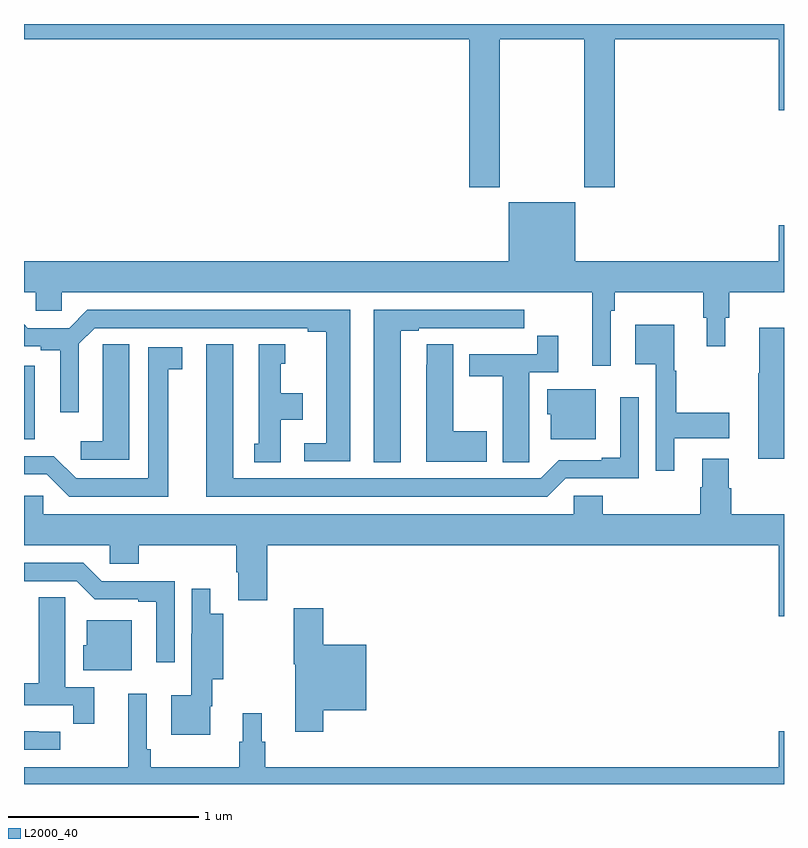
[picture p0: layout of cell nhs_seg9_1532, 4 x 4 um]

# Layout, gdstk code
import gdstk
lib = gdstk.Library(unit=1e-6, precision=1e-09)
def R(c, l, rs):  # rectangles x0, y0, x1, y1
    for r in rs: c.add(gdstk.rectangle(r[:2], r[2:], *l))
def P(c, l, *ps):  # polygons
    for p in ps: c.add(gdstk.Polygon(p, *l))
L2000_40 = (2000, 40)

nhs_seg9_1532 = lib.new_cell('nhs_seg9_1532')
R(nhs_seg9_1532, L2000_40, [(197,1194.314,197.056,1194.702)])
P(nhs_seg9_1532, L2000_40, [(199.503,1196.42),(199.948,1196.42),(199.948,1195.641),(200.108,1195.641),(200.108,1196.42),(200.972,1196.42),(200.972,1196.046),(201,1196.046),(201,1196.5),(197,1196.5),(197,1196.42),(199.343,1196.42),(199.343,1195.641),(199.503,1195.641)],
  [(201,1195.441),(200.972,1195.441),(200.972,1195.252),(199.9,1195.252),(199.9,1195.561),(199.55,1195.561),(199.55,1195.252),(197,1195.252),(197,1195.088),(197.061,1195.088),(197.061,1194.99),(197.199,1194.99),(197.199,1195.088),(199.991,1195.088),(199.991,1194.702),(200.088,1194.702),(200.088,1194.992),(200.108,1194.992),(200.108,1195.088),(200.575,1195.088),(200.575,1194.954),(200.594,1194.954),(200.594,1194.804),(200.692,1194.804),(200.692,1194.954),(200.711,1194.954),(200.711,1195.088),(201,1195.088)],
  [(198.982,1194.885),(199.078,1194.885),(199.078,1194.9),(199.354,1194.9),(199.354,1194.899),(199.52,1194.899),(199.52,1194.9),(199.633,1194.9),(199.633,1194.996),(198.842,1194.996),(198.842,1194.193),(198.982,1194.193)],
  [(198.718,1194.996),(197.333,1194.996),(197.237,1194.9),(197.019,1194.9),(197,1194.919),(197,1194.804),(197.088,1194.804),(197.088,1194.784),(197.192,1194.784),(197.192,1194.456),(197.289,1194.456),(197.289,1194.816),(197.373,1194.9),(198.494,1194.9),(198.494,1194.88),(198.59,1194.88),(198.59,1194.294),(198.474,1194.294),(198.474,1194.198),(198.718,1194.198)],
  [(200.422,1194.32),(200.713,1194.32),(200.713,1194.455),(200.434,1194.455),(200.434,1194.675),(200.422,1194.675),(200.422,1194.916),(200.216,1194.916),(200.216,1194.71),(200.325,1194.71),(200.325,1194.15),(200.422,1194.15)],
  [(201,1194.901),(200.87,1194.901),(200.87,1194.661),(200.864,1194.661),(200.864,1194.213),(201,1194.213)],
  [(199.659,1194.304),(199.66,1194.304),(199.66,1194.666),(199.811,1194.666),(199.811,1194.859),(199.702,1194.859),(199.702,1194.762),(199.343,1194.762),(199.343,1194.646),(199.52,1194.646),(199.52,1194.193),(199.659,1194.193)],
  [(197.554,1194.815),(197.415,1194.815),(197.415,1194.707),(197.414,1194.707),(197.414,1194.304),(197.298,1194.304),(197.298,1194.207),(197.554,1194.207)],
  [(199.435,1194.357),(199.258,1194.357),(199.258,1194.815),(199.119,1194.815),(199.119,1194.707),(199.118,1194.707),(199.118,1194.197),(199.435,1194.197)],
  [(199.851,1194.108),(200.235,1194.108),(200.235,1194.535),(200.138,1194.535),(200.138,1194.217),(200.042,1194.217),(200.042,1194.204),(199.815,1194.204),(199.719,1194.108),(198.1,1194.108),(198.1,1194.814),(197.96,1194.814),(197.96,1194.012),(199.755,1194.012)],
  [(198.352,1194.416),(198.466,1194.416),(198.466,1194.556),(198.352,1194.556),(198.352,1194.711),(198.376,1194.711),(198.376,1194.814),(198.236,1194.814),(198.236,1194.291),(198.212,1194.291),(198.212,1194.193),(198.352,1194.193)],
  [(197.758,1194.682),(197.833,1194.682),(197.833,1194.798),(197.654,1194.798),(197.654,1194.108),(197.274,1194.108),(197.157,1194.225),(197,1194.225),(197,1194.129),(197.121,1194.129),(197.238,1194.012),(197.758,1194.012)],
  [(200.008,1194.577),(199.754,1194.577),(199.754,1194.447),(199.772,1194.447),(199.772,1194.314),(200.008,1194.314)],
  [(201,1193.92),(200.723,1193.92),(200.723,1194.057),(200.71,1194.057),(200.71,1194.211),(200.57,1194.211),(200.57,1194.062),(200.558,1194.062),(200.558,1193.92),(200.045,1193.92),(200.045,1194.018),(199.893,1194.018),(199.893,1193.92),(197.1,1193.92),(197.1,1194.018),(197,1194.018),(197,1193.756),(197.451,1193.756),(197.451,1193.658),(197.603,1193.658),(197.603,1193.756),(198.116,1193.756),(198.116,1193.614),(198.128,1193.614),(198.128,1193.466),(198.281,1193.466),(198.281,1193.756),(200.972,1193.756),(200.972,1193.382),(201,1193.382)],
  [(197.793,1193.568),(197.409,1193.568),(197.313,1193.664),(197,1193.664),(197,1193.568),(197.277,1193.568),(197.373,1193.472),(197.6,1193.472),(197.6,1193.46),(197.696,1193.46),(197.696,1193.142),(197.793,1193.142)],
  [(197.979,1192.91),(197.992,1192.91),(197.992,1193.051),(198.048,1193.051),(198.048,1193.395),(197.98,1193.395),(197.98,1193.527),(197.882,1193.527),(197.882,1193.291),(197.881,1193.291),(197.881,1192.966),(197.774,1192.966),(197.774,1192.76),(197.979,1192.76)],
  [(197.369,1193.01),(197.218,1193.01),(197.218,1193.372),(197.217,1193.372),(197.217,1193.483),(197.078,1193.483),(197.078,1193.031),(197,1193.031),(197,1192.914),(197.26,1192.914),(197.26,1192.818),(197.369,1192.818)],
  [(198.575,1192.889),(198.802,1192.889),(198.802,1193.233),(198.575,1193.233),(198.575,1193.425),(198.421,1193.425),(198.421,1193.129),(198.428,1193.129),(198.428,1192.776),(198.575,1192.776)],
  [(197.566,1193.362),(197.33,1193.362),(197.33,1193.229),(197.312,1193.229),(197.312,1193.099),(197.566,1193.099)],
  [(201,1192.777),(200.972,1192.777),(200.972,1192.588),(198.269,1192.588),(198.269,1192.722),(198.25,1192.722),(198.25,1192.873),(198.152,1192.873),(198.152,1192.722),(198.133,1192.722),(198.133,1192.588),(197.666,1192.588),(197.666,1192.684),(197.646,1192.684),(197.646,1192.975),(197.549,1192.975),(197.549,1192.588),(197,1192.588),(197,1192.5),(201,1192.5)],
  [(197.191,1192.776),(197.078,1192.776),(197.078,1192.777),(197,1192.777),(197,1192.68),(197.191,1192.68)])

lib.write_gds('nhs_seg9_1532.gds')
